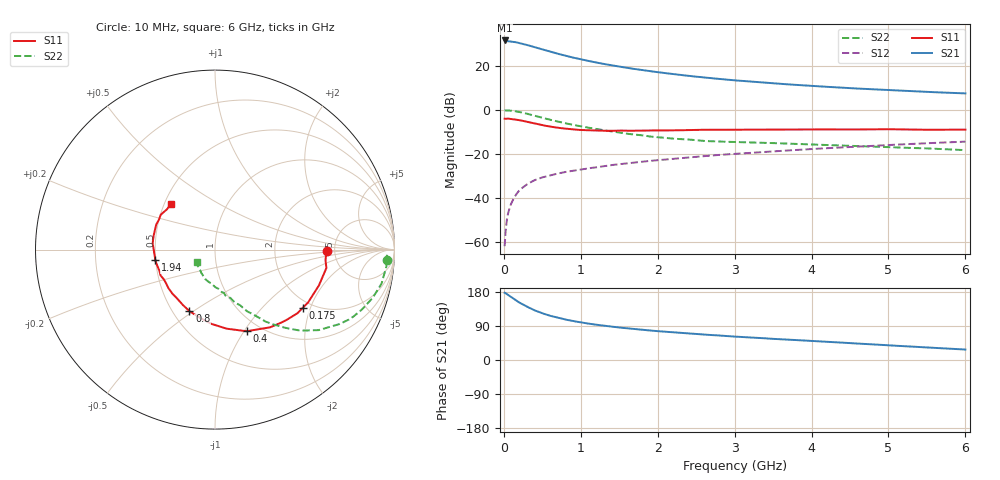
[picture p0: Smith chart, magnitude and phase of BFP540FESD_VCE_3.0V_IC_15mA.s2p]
! Infineon Technologies  Discrete & RF Semiconductors
! BFP540FESD
! VCE =  3.0 V,  IC =  15 mA
! Common Emitter S-Parameters:  Nov 2015
# GHz  S  MA  R  50
!  f  S11  S21  S12  S22
! GHz  MAG  ANG  MAG  ANG  MAG  ANG  MAG  ANG
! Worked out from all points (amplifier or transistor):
!   210 points, 10 MHz to 6 GHz, reference 50 ohm
!   highest |S21| = 31.4 dB at 10 MHz (marker M1)
!   |S21| within 3 dB of that: start of sweep to 396.8 MHz
!   unconditionally stable (mu >= 1): 1.948 GHz to end of sweep
!   at 185 MHz: K = 0.23, MSG = 33.8 dB, |S12| = -37.3 dB
!   at 1.52 GHz: K = 0.91, MSG = 22.0 dB, |S12| = -24.7 dB
!   at 6 GHz: K = 1.19, MAG = 8.3 dB, |S12| = -14.5 dB
!   S11 on the Smith chart (normalised r, x): 10 MHz: 4.29, -0.14; 175 MHz: 1.79, -1.77; 400 MHz: 0.86, -1.03; 800 MHz: 0.61, -0.48; 1.94 GHz: 0.50, -0.06; 6 GHz: 0.54, +0.31
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0.01  0.6223 -0.9  37.05 177.5  0.0008 92.4  0.9613 -3.6
0.02  0.6183 -5.3  35.93 176.6  0.0015 89.8  0.958 -2.0
0.05  0.629 -9.4  35.74 172.5  0.004 88.5  0.9596 -5.6
0.1  0.6125 -19.0  34.88 165.2  0.0077 79.6  0.9472 -11.5
0.15  0.5964 -29.6  34.02 158.5  0.0112 78.0  0.9196 -16.9
0.175  0.5868 -33.6  33.19 155.2  0.0129 76.9  0.9016 -19.4
0.2  0.5801 -37.7  32.48 151.8  0.0146 76.1  0.8854 -22.0
0.3  0.531 -54.6  29.37 140.5  0.0201 69.5  0.8081 -30.9
0.4  0.4879 -68.8  26.13 131.0  0.0251 64.7  0.7305 -37.9
0.5  0.4453 -81.6  23.28 123.2  0.029 61.9  0.6542 -43.6
0.6  0.4143 -92.8  20.63 116.8  0.0321 60.8  0.5899 -47.8
0.8  0.3714 -112.5  16.69 106.7  0.0386 59.1  0.4904 -54.9
1.02  0.3441 -128.4  13.59 98.6  0.0444 58.2  0.4127 -60.0
1.2  0.3369 -140.4  11.7 93.1  0.0491 58.2  0.3636 -64.2
1.42  0.3309 -150.9  10 87.6  0.0558 57.7  0.3167 -69.0
1.94  0.3372 -170.3  7.3 77.2  0.0698 56.4  0.2423 -79.7
2.02  0.3373 -173.3  6.998 75.8  0.0719 56.2  0.2358 -81.8
2.58  0.3487 174.5  5.411 67.4  0.0873 54.5  0.196 -93.9
3.1  0.3508 166.0  4.477 60.7  0.1017 52.4  0.1823 -101.7
4.1  0.3553 156.0  3.369 49.2  0.1306 47.6  0.1598 -114.7
5.1  0.357 145.9  2.726 37.6  0.1606 40.7  0.1388 -127.6
6  0.3518 134.1  2.332 27.6  0.188 34.0  0.1205 -145.4
